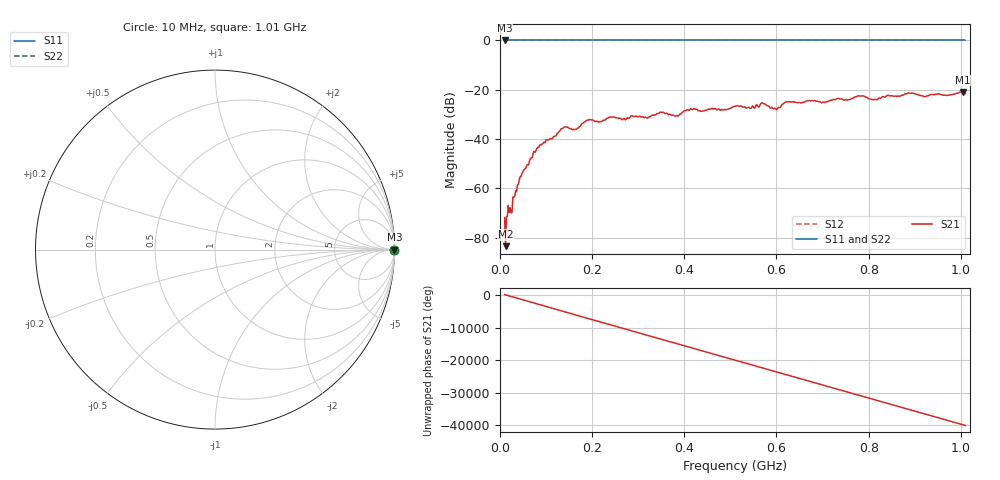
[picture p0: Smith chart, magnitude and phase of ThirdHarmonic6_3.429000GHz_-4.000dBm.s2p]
! 8/17/2025 11:01:19 AM
! C:\ANRITSUVNA\TEMP\TEMP.S2P
! CHANNEL.1
! TR.MEASUREMENT
! RAW.DATA
! RF.CORRECTION.OFF
! AVERAGING.OFF
! IF.BANDWIDTH: 5KHZ
! SWEEPTYPE:  FREQ.SWEEP(Linear)
! Reference Plane Port Info
! PORT:  PORT1  PORT2
! DISTANCE:  0  m  0  m
! TIME:  0  s  0  s
! PHASE.OFFSET:  0  deg.  0  deg.
! LOSS:  0  dB  0  dB
! REF.LOSS:  0  dB  0  dB
! REF.FREQ:  0  Hz  0  Hz
! Power Info
! POWER:  -20  dBm  -20  dBm
! EFF.POWER:  -20  dBm  -20  dBm
! SOURCE.ATTEN:  0  dB  0  dB
! TEST.ATTEN:  0  dB  0  dB
# GHZ S RI R 50.0
! FREQ.GHZ  S11RE  S11IM  S21RE  S21IM  S12RE  S12IM  S22RE  S22IM
!; PortSelection: Port_12
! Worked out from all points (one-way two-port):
!   501 points, 10 MHz to 1.01 GHz, reference 50 ohm
!   highest |S21| = -20.93 dB at 1.004 GHz (marker M1); lowest = -83.5 dB at 12 MHz (marker M2)
!   lowest |S11| = 0.0 dB at 10 MHz (marker M3)
!   |S11| at or under -10 dB: nowhere
!   |S22| runs from 0.0 to 0.0 dB; largest |S21 - S12| = 1.1
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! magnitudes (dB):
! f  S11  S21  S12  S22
! 10 MHz  0.0  -71.9  0.0  0.0
! 12 MHz  0.0  -83.5  0.0  0.0
! 28 MHz  0.0  -63.4  0.0  0.0
! 46 MHz  0.0  -55.1  0.0  0.0
! 76 MHz  0.0  -45.4  0.0  0.0
! 136 MHz  0.0  -35.7  0.0  0.0
! 162 MHz  0.0  -36.2  0.0  0.0
! 178 MHz  0.0  -33.7  0.0  0.0
! 194 MHz  0.0  -32.1  0.0  0.0
! 318 MHz  0.0  -31.3  0.0  0.0
! 344 MHz  0.0  -29.7  0.0  0.0
! 384 MHz  0.0  -30.5  0.0  0.0
! 410 MHz  0.0  -28.4  0.0  0.0
! 510 MHz  0.0  -26.7  0.0  0.0
! 570 MHz  0.0  -25.4  0.0  0.0
! 598 MHz  0.0  -27.6  0.0  0.0
! 622 MHz  0.0  -24.9  0.0  0.0
! 678 MHz  0.0  -24.4  0.0  0.0
! 814 MHz  0.0  -23.9  0.0  0.0
! 844 MHz  0.0  -22.4  0.0  0.0
! 1.004 GHz  0.0  -20.9  0.0  0.0
! 1.01 GHz  0.0  -21.5  0.0  0.0
